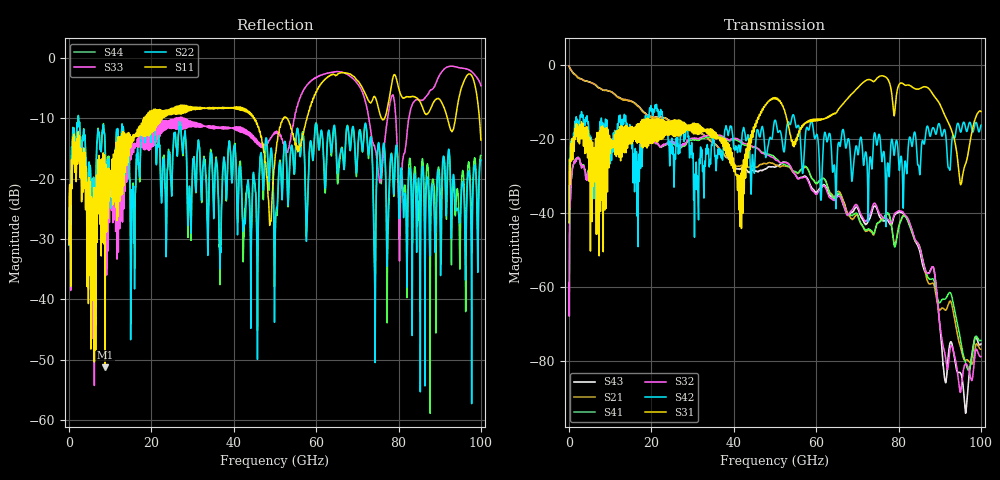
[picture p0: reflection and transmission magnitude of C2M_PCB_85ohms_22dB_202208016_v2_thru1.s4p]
! Info: Touchstone file created by Circ.  Input file=Intel_C2M_200G_8p5in_202208016_staggered.circ
# Hz S RI R 50
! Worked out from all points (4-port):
!   10000 points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, 10 MHz to 100 GHz, reference 50 ohm
!   strongest paths, dB at 10 MHz, 25.01 GHz, 50.01 GHz, 75.01 GHz, 100 GHz:
!     S31: -42.6, -18.8, -9.1, -3.3, -12.5
!     S42: -42.6, -20.6, -14.9, -19.8, -16.3
!     S32: -59.0, -20.7, -25.5, -39.1, -78.8
!     S41: -59.0, -21.1, -25.0, -42.5, -74.3
!     S21: -0.3, -15.3, -26.9, -42.6, -76.8
!     S43: -0.3, -15.2, -27.5, -39.6, -75.4
!   lowest |S11| = -51.2 dB at 8.78 GHz (marker M1), VSWR 1.01, Z = 49.7 + j0.0767 ohm
!   |S11| at or under -10 dB: start of sweep to 18.21 GHz; 45.03 GHz to 52.08 GHz (7.046 GHz wide, 14.5 % of centre); 52.87 GHz to 57.76 GHz (4.882 GHz wide, 8.83 % of centre)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
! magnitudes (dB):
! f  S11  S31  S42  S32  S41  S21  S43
! 10 MHz  -30.9  -42.6  -42.6  -59.0  -59.0  -0.3  -0.3
! 1.21 GHz  -12.6  -23.3  -19.0  -26.1  -26.1  -2.4  -2.4
! 8.78 GHz  -51.2  -17.6  -15.3  -23.1  -23.2  -6.8  -6.8
! 41.41 GHz  -8.7  -30.2  -22.1  -20.3  -20.7  -27.4  -28.2
! 80.75 GHz  -6.5  -4.8  -25.2  -39.5  -41.6  -41.3  -39.8
! 91.15 GHz  -8.4  -13.4  -17.4  -77.4  -63.3  -66.1  -84.3
! 100 GHz  -13.6  -12.5  -16.3  -78.8  -74.3  -76.8  -75.4
